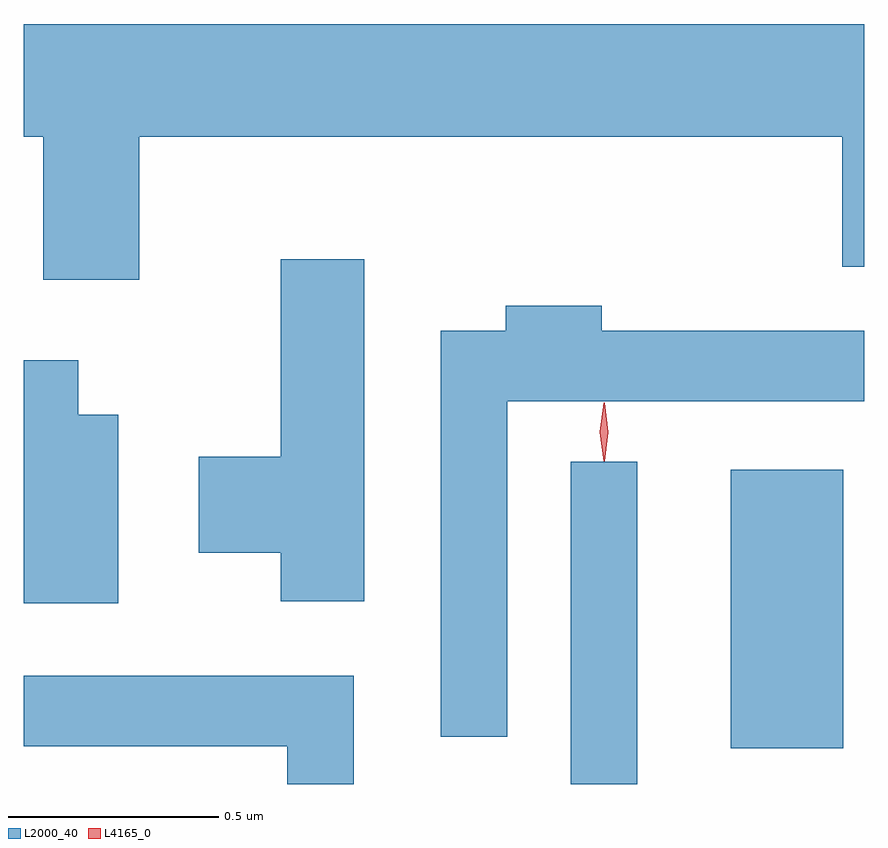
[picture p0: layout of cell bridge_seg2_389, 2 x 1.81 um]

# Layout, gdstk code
import gdstk
lib = gdstk.Library(unit=1e-6, precision=1e-09)
def R(c, l, rs):  # rectangles x0, y0, x1, y1
    for r in rs: c.add(gdstk.rectangle(r[:2], r[2:], *l))
def P(c, l, *ps):  # polygons
    for p in ps: c.add(gdstk.Polygon(p, *l))
L2000_40 = (2000, 40)
L4165_0 = (4165, 0)

bridge_seg2_389 = lib.new_cell('bridge_seg2_389')
R(bridge_seg2_389, L2000_40, [(632.606,1013.476,632.764,1014.243), (632.986,1013.561,633.254,1014.224)])
P(bridge_seg2_389, L2000_40, [(631.579,1015.016),(633.251,1015.016),(633.251,1014.706),(633.304,1014.706),(633.304,1015.284),(631.304,1015.284),(631.304,1015.016),(631.351,1015.016),(631.351,1014.676),(631.579,1014.676)],
  [(632.114,1014.724),(631.916,1014.724),(631.916,1014.254),(631.721,1014.254),(631.721,1014.026),(631.916,1014.026),(631.916,1013.911),(632.114,1013.911)],
  [(632.454,1014.386),(633.304,1014.386),(633.304,1014.554),(632.679,1014.554),(632.679,1014.614),(632.451,1014.614),(632.451,1014.554),(632.296,1014.554),(632.296,1013.588),(632.454,1013.588)],
  [(631.529,1014.354),(631.434,1014.354),(631.434,1014.484),(631.304,1014.484),(631.304,1013.906),(631.529,1013.906)],
  [(632.089,1013.734),(631.304,1013.734),(631.304,1013.566),(631.931,1013.566),(631.931,1013.476),(632.089,1013.476)])
P(bridge_seg2_389, L4165_0, [(632.684,1014.244),(632.675,1014.313),(632.684,1014.383),(632.685,1014.383),(632.686,1014.383),(632.695,1014.313),(632.686,1014.244),(632.685,1014.244)],
  [(632.685,1014.247),(632.684,1014.248),(632.675,1014.314),(632.684,1014.38),(632.685,1014.381),(632.686,1014.38),(632.695,1014.314),(632.686,1014.248)])

lib.write_gds('bridge_seg2_389.gds')
